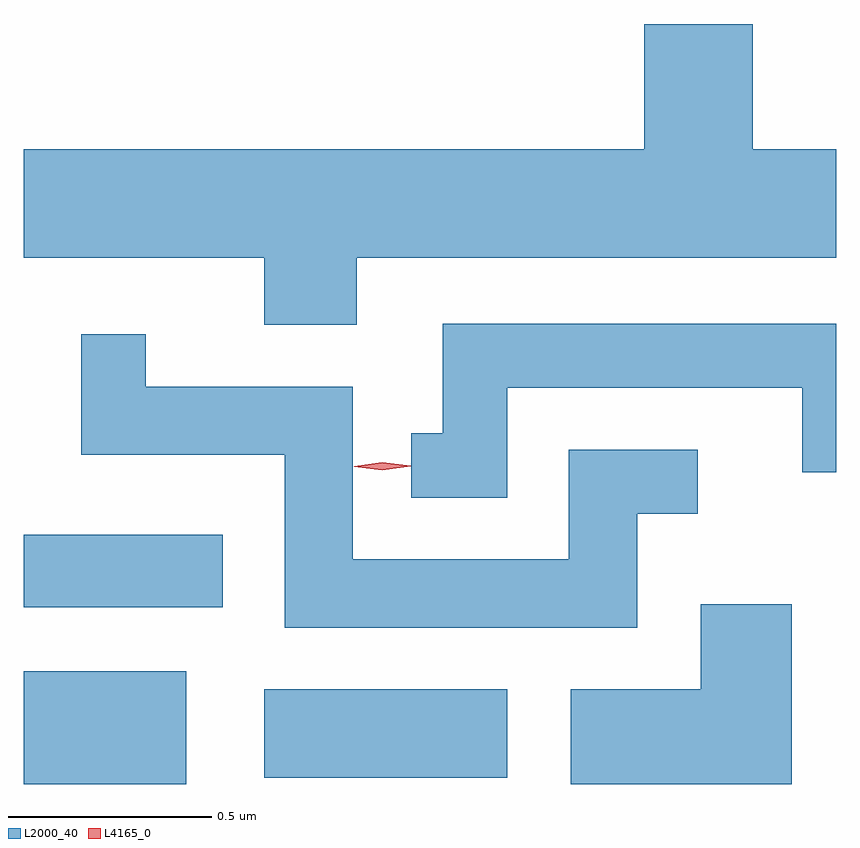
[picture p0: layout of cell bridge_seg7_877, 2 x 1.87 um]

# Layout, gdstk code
import gdstk
lib = gdstk.Library(unit=1e-6, precision=1e-09)
def R(c, l, rs):  # rectangles x0, y0, x1, y1
    for r in rs: c.add(gdstk.rectangle(r[:2], r[2:], *l))
def P(c, l, *ps):  # polygons
    for p in ps: c.add(gdstk.Polygon(p, *l))
L2000_40 = (2000, 40)
L4165_0 = (4165, 0)

bridge_seg7_877 = lib.new_cell('bridge_seg7_877')
R(bridge_seg7_877, L2000_40, [(313.449,1673.061,313.849,1673.339), (314.041,1673.076,314.639,1673.294), (313.449,1673.496,313.939,1673.674)])
P(bridge_seg7_877, L2000_40, [(314.269,1674.356),(315.449,1674.356),(315.449,1674.624),(315.244,1674.624),(315.244,1674.932),(314.976,1674.932),(314.976,1674.624),(313.449,1674.624),(313.449,1674.356),(314.041,1674.356),(314.041,1674.191),(314.269,1674.191)],
  [(314.639,1674.036),(315.366,1674.036),(315.366,1673.828),(315.449,1673.828),(315.449,1674.194),(314.481,1674.194),(314.481,1673.924),(314.403,1673.924),(314.403,1673.766),(314.639,1673.766)],
  [(314.959,1673.726),(315.108,1673.726),(315.108,1673.884),(314.791,1673.884),(314.791,1673.614),(314.259,1673.614),(314.259,1674.039),(313.749,1674.039),(313.749,1674.168),(313.591,1674.168),(313.591,1673.871),(314.091,1673.871),(314.091,1673.446),(314.959,1673.446)],
  [(315.339,1673.504),(315.116,1673.504),(315.116,1673.294),(314.796,1673.294),(314.796,1673.061),(315.339,1673.061)])
P(bridge_seg7_877, L4165_0, [(314.331,1673.833),(314.262,1673.842),(314.262,1673.843),(314.262,1673.843),(314.331,1673.853),(314.401,1673.844),(314.401,1673.844),(314.401,1673.843)])

lib.write_gds('bridge_seg7_877.gds')
